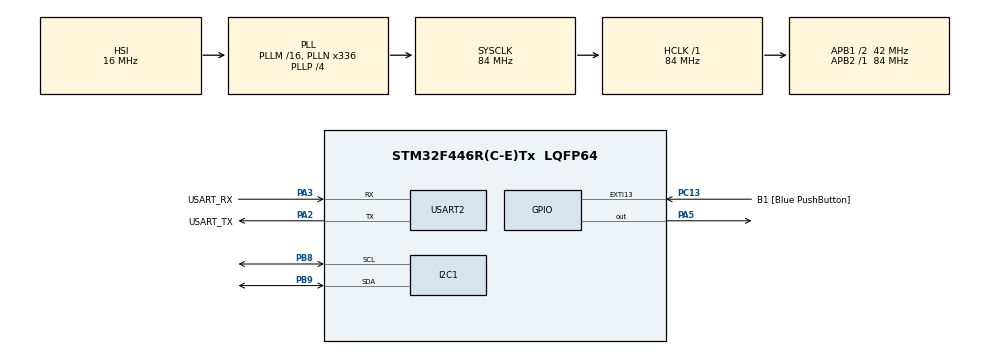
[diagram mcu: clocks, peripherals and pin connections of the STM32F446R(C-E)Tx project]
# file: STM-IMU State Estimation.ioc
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Mcu.Family=STM32F4
Mcu.Name=STM32F446R(C-E)Tx
Mcu.Package=LQFP64
NUCLEO-F446RE.LD1=true
NVIC.PriorityGroup=NVIC_PRIORITYGROUP_0
NVIC.TIM2_IRQn=true\:0\:0\:false\:false\:true\:true\:true\:true
PA13.GPIO_Label=TMS
PA13.Signal=SYS_JTMS-SWDIO
PA14.GPIO_Label=TCK
PA14.Signal=SYS_JTCK-SWCLK
PA2.GPIO_Label=USART_TX
PA2.Mode=Asynchronous
PA2.Signal=USART2_TX
PA3.GPIO_Label=USART_RX
PA3.Mode=Asynchronous
PA3.Signal=USART2_RX
PA5.Signal=GPIO_Output
PB3.GPIO_Label=SWO
PB3.Signal=SYS_JTDO-SWO
PB8.Mode=I2C
PB8.Signal=I2C1_SCL
PB9.Mode=I2C
PB9.Signal=I2C1_SDA
PC13.GPIO_Label=B1 [Blue PushButton]
PC13.GPIO_ModeDefaultEXTI=GPIO_MODE_IT_FALLING
PC13.Signal=GPXTI13
PC14-OSC32_IN.Signal=RCC_OSC32_IN
PC15-OSC32_OUT.Signal=RCC_OSC32_OUT
PH0-OSC_IN.Signal=RCC_OSC_IN
PH1-OSC_OUT.Signal=RCC_OSC_OUT
ProjectManager.HeapSize=0x200
ProjectManager.StackSize=0x400
ProjectManager.TargetToolchain=STM32CubeIDE
RCC.AHBFreq_Value=84000000
RCC.APB1CLKDivider=RCC_HCLK_DIV2
RCC.APB1Freq_Value=42000000
RCC.APB1TimFreq_Value=84000000
RCC.APB2Freq_Value=84000000
RCC.APB2TimFreq_Value=84000000
RCC.CortexFreq_Value=84000000
RCC.FLatency-AdvancedSettings=FLASH_LATENCY_2
RCC.HCLKFreq_Value=84000000
RCC.HSE_VALUE=8000000
RCC.HSI_VALUE=16000000
RCC.LSE_VALUE=32768
RCC.PLLN=336
RCC.PLLP=RCC_PLLP_DIV4
RCC.SYSCLKFreq_VALUE=84000000
RCC.SYSCLKSource=RCC_SYSCLKSOURCE_PLLCLK
RCC.USBFreq_Value=168000000
RCC.VCOOutputFreq_Value=336000000
TIM2.Period=99
TIM2.Prescaler=8399
USART2.VirtualMode=VM_ASYNC
VP_NUCLEO-F446RE_VS_BSP_COMMON.Mode=COMMON
VP_TIM2_VS_ClockSourceINT.Mode=Internal
board=NUCLEO-F446RE

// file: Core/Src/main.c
/* USER CODE BEGIN Header */
/**
  ******************************************************************************
  * @file           : main.c
  * @brief          : Main program body
  ******************************************************************************
  * @attention
  *
  * Copyright (c) 2026 STMicroelectronics.
  * All rights reserved.
  *
  * This software is licensed under terms that can be found in the LICENSE file
  * in the root directory of this software component.
  * If no LICENSE file comes with this software, it is provided AS-IS.
  *
  ******************************************************************************
  */
/* USER CODE END Header */
#include "main.h"

/* USER CODE BEGIN Includes */
#include <stdio.h>
#include "mpu6050.h"
#include <math.h>
#include "angle_kalman.h"
#include "quaternion_filter.h"
/* USER CODE END Includes */

/* USER CODE BEGIN PD */
#define KALMAN_Q_ANGLE                  0.001f
#define KALMAN_Q_BIAS                   0.00001f
#define KALMAN_R_MEASURE                0.03f
#define KALMAN_ACCEL_REJECTION_GAIN     10000.0f

#define SAMPLE_PERIOD_S                 0.01f
#define RAD_TO_DEG                      57.2957795f

#define MAHONY_KP 2.0f
/* USER CODE END PD */

I2C_HandleTypeDef hi2c1;

TIM_HandleTypeDef htim2;

UART_HandleTypeDef huart2;

/* USER CODE BEGIN PV */
volatile uint8_t sample_due = 0;

/* USER CODE END PV */

void SystemClock_Config(void);
static void MX_GPIO_Init(void);
static void MX_I2C1_Init(void);
static void MX_USART2_UART_Init(void);
static void MX_TIM2_Init(void);

int main(void)
{

  /* MCU Configuration--------------------------------------------------------*/

  /* Reset of all peripherals, Initializes the Flash interface and the Systick. */
  HAL_Init();

  /* Configure the system clock */
  SystemClock_Config();

  /* Initialize all configured peripherals */
  MX_GPIO_Init();
  MX_I2C1_Init();
  MX_USART2_UART_Init();
  MX_TIM2_Init();
  /* USER CODE BEGIN 2 */
  MPU6050_Handle imu;
  MPU6050_Measurement measurement;
  AngleKalmanFilter roll_filter;
  AngleKalmanFilter pitch_filter;

  QuaternionFilter quaternion_filter;
  float quaternion_roll_deg = 0.0f;
  float quaternion_pitch_deg = 0.0f;
  float quaternion_yaw_deg = 0.0f;

  uint8_t kalman_initialized = 0;

  // Driver initialization
  if (MPU6050_Init(&imu, &hi2c1) != MPU6050_OK)
  {
      char error_message[] = "MPU6050 init failed\r\n";

      HAL_UART_Transmit(
          &huart2,
          (uint8_t *)error_message,
          sizeof(error_message) - 1,
          HAL_MAX_DELAY
      );

      Error_Handler();
  }

  QuaternionFilter_Init(&quaternion_filter);

  if (HAL_TIM_Base_Start_IT(&htim2) != HAL_OK)
  {
      Error_Handler();
  }

  /* USER CODE END 2 */

  /* Initialize leds */
  BSP_LED_Init(LED2);

  /* Infinite loop */
  /* USER CODE BEGIN WHILE */
  uint32_t sample_index = 0;

  while (1)
  {
    /* USER CODE END WHILE */

    /* USER CODE BEGIN 3 */

      if (sample_due)
      {
          sample_due = 0;

          if (MPU6050_ReadAll(&imu, &measurement) == MPU6050_OK)
          {
        	  float ax_g = measurement.accel_x_g;
        	  float ay_g = measurement.accel_y_g;
        	  float az_g = measurement.accel_z_g;

        	  float roll_acc_deg =
        	      atan2f(ay_g, az_g) * RAD_TO_DEG;

        	  float pitch_acc_deg =
        	      atan2f(
        	          -ax_g,
        	          sqrtf(ay_g * ay_g + az_g * az_g)
        	      ) * RAD_TO_DEG;

        	  float accel_magnitude_g =
        	      sqrtf(
        	          ax_g * ax_g
        	          + ay_g * ay_g
        	          + az_g * az_g
        	      );

        	  float roll_kf_deg;
        	  float pitch_kf_deg;

        	  if (!kalman_initialized)
        	  {
        	      AngleKalman_Init(
        	          &roll_filter,
        	          roll_acc_deg,
        	          KALMAN_Q_ANGLE,
        	          KALMAN_Q_BIAS,
        	          KALMAN_R_MEASURE,
        	          KALMAN_ACCEL_REJECTION_GAIN
        	      );

        	      AngleKalman_Init(
        	          &pitch_filter,
        	          pitch_acc_deg,
        	          KALMAN_Q_ANGLE,
        	          KALMAN_Q_BIAS,
        	          KALMAN_R_MEASURE,
        	          KALMAN_ACCEL_REJECTION_GAIN
        	      );

        	      roll_kf_deg = roll_acc_deg;
        	      pitch_kf_deg = pitch_acc_deg;

        	      kalman_initialized = 1;
        	  }
        	  else
        	  {
        	      roll_kf_deg = AngleKalman_Update(
        	          &roll_filter,
        	          roll_acc_deg,
        	          measurement.gyro_x_dps,
        	          accel_magnitude_g,
        	          SAMPLE_PERIOD_S
        	      );

        	      pitch_kf_deg = AngleKalman_Update(
        	          &pitch_filter,
        	          pitch_acc_deg,
        	          measurement.gyro_y_dps,
        	          accel_magnitude_g,
        	          SAMPLE_PERIOD_S
        	      );
        	  }

        	  QuaternionFilter_UpdateMahony(
        	      &quaternion_filter,
        	      measurement.gyro_x_dps,
        	      measurement.gyro_y_dps,
        	      measurement.gyro_z_dps,
        	      measurement.accel_x_g,
        	      measurement.accel_y_g,
        	      measurement.accel_z_g,
        	      MAHONY_KP,
        	      SAMPLE_PERIOD_S
        	  );

        	  QuaternionFilter_ToEuler(
        	      &quaternion_filter,
        	      &quaternion_roll_deg,
        	      &quaternion_pitch_deg,
        	      &quaternion_yaw_deg
        	  );

        	  // UART sending

              char uart_buffer[400];

              uint32_t timestamp_ms = HAL_GetTick();

              int message_length = snprintf(
                  uart_buffer,
                  sizeof(uart_buffer),
                  "%lu,%lu,"
                  "%d,%d,%d,"
                  "%d,%d,%d,"
                  "%.5f,%.5f,%.5f,"
				  "%.5f,%.5f,%.5f,"
				  "%.5f,%.5f,%.5f,"
				  "%.5f,%.5f,"
				  "%.6f,%.6f,%.6f,%.6f,"
				  "%.6f,%.6f,%.6f,%.6f,%.5f,%.5f,%.5f\r\n",
                  sample_index,
                  timestamp_ms,
                  measurement.accel_x_raw,
                  measurement.accel_y_raw,
                  measurement.accel_z_raw,
                  measurement.gyro_x_raw,
                  measurement.gyro_y_raw,
                  measurement.gyro_z_raw,
                  measurement.accel_x_g,
                  measurement.accel_y_g,
                  measurement.accel_z_g,
                  measurement.gyro_x_dps,
                  measurement.gyro_y_dps,
                  measurement.gyro_z_dps,
				  roll_acc_deg,
				  pitch_acc_deg,
				  accel_magnitude_g,
				  roll_kf_deg,
				  pitch_kf_deg,
				  roll_filter.bias_dps,
				  pitch_filter.bias_dps,
				  roll_filter.k_angle,
				  pitch_filter.k_angle,
				  quaternion_filter.qw,
				  quaternion_filter.qx,
				  quaternion_filter.qy,
				  quaternion_filter.qz,
				  quaternion_roll_deg,
				  quaternion_pitch_deg,
				  quaternion_yaw_deg
              );

              if (message_length > 0 &&
                  message_length < sizeof(uart_buffer))
              {
                  HAL_UART_Transmit(
                      &huart2,
                      (uint8_t *)uart_buffer,
                      message_length,
                      HAL_MAX_DELAY
                  );
              }

              sample_index++;
          }
      }

  /* USER CODE END 3 */
}
}

void SystemClock_Config(void)
{
  RCC_OscInitTypeDef RCC_OscInitStruct = {0};
  RCC_ClkInitTypeDef RCC_ClkInitStruct = {0};

  /** Configure the main internal regulator output voltage
  */
  __HAL_RCC_PWR_CLK_ENABLE();
  __HAL_PWR_VOLTAGESCALING_CONFIG(PWR_REGULATOR_VOLTAGE_SCALE3);

  /** Initializes the RCC Oscillators according to the specified parameters
  * in the RCC_OscInitTypeDef structure.
  */
  RCC_OscInitStruct.OscillatorType = RCC_OSCILLATORTYPE_HSI;
  RCC_OscInitStruct.HSIState = RCC_HSI_ON;
  RCC_OscInitStruct.HSICalibrationValue = RCC_HSICALIBRATION_DEFAULT;
  RCC_OscInitStruct.PLL.PLLState = RCC_PLL_ON;
  RCC_OscInitStruct.PLL.PLLSource = RCC_PLLSOURCE_HSI;
  RCC_OscInitStruct.PLL.PLLM = 16;
  RCC_OscInitStruct.PLL.PLLN = 336;
  RCC_OscInitStruct.PLL.PLLP = RCC_PLLP_DIV4;
  RCC_OscInitStruct.PLL.PLLQ = 2;
  RCC_OscInitStruct.PLL.PLLR = 2;
  if (HAL_RCC_OscConfig(&RCC_OscInitStruct) != HAL_OK)
  {
    Error_Handler();
  }

  /** Initializes the CPU, AHB and APB buses clocks
  */
  RCC_ClkInitStruct.ClockType = RCC_CLOCKTYPE_HCLK|RCC_CLOCKTYPE_SYSCLK
                              |RCC_CLOCKTYPE_PCLK1|RCC_CLOCKTYPE_PCLK2;
  RCC_ClkInitStruct.SYSCLKSource = RCC_SYSCLKSOURCE_PLLCLK;
  RCC_ClkInitStruct.AHBCLKDivider = RCC_SYSCLK_DIV1;
  RCC_ClkInitStruct.APB1CLKDivider = RCC_HCLK_DIV2;
  RCC_ClkInitStruct.APB2CLKDivider = RCC_HCLK_DIV1;

  if (HAL_RCC_ClockConfig(&RCC_ClkInitStruct, FLASH_LATENCY_2) != HAL_OK)
  {
    Error_Handler();
  }
}

static void MX_I2C1_Init(void)
{

  hi2c1.Instance = I2C1;
  hi2c1.Init.ClockSpeed = 100000;
  hi2c1.Init.DutyCycle = I2C_DUTYCYCLE_2;
  hi2c1.Init.OwnAddress1 = 0;
  hi2c1.Init.AddressingMode = I2C_ADDRESSINGMODE_7BIT;
  hi2c1.Init.DualAddressMode = I2C_DUALADDRESS_DISABLE;
  hi2c1.Init.OwnAddress2 = 0;
  hi2c1.Init.GeneralCallMode = I2C_GENERALCALL_DISABLE;
  hi2c1.Init.NoStretchMode = I2C_NOSTRETCH_DISABLE;
  if (HAL_I2C_Init(&hi2c1) != HAL_OK)
  {
    Error_Handler();
  }

}

static void MX_TIM2_Init(void)
{

  TIM_ClockConfigTypeDef sClockSourceConfig = {0};
  TIM_MasterConfigTypeDef sMasterConfig = {0};

  htim2.Instance = TIM2;
  htim2.Init.Prescaler = 8399;
  htim2.Init.CounterMode = TIM_COUNTERMODE_UP;
  htim2.Init.Period = 99;
  htim2.Init.ClockDivision = TIM_CLOCKDIVISION_DIV1;
  htim2.Init.AutoReloadPreload = TIM_AUTORELOAD_PRELOAD_DISABLE;
  if (HAL_TIM_Base_Init(&htim2) != HAL_OK)
  {
    Error_Handler();
  }
  sClockSourceConfig.ClockSource = TIM_CLOCKSOURCE_INTERNAL;
  if (HAL_TIM_ConfigClockSource(&htim2, &sClockSourceConfig) != HAL_OK)
  {
    Error_Handler();
  }
  sMasterConfig.MasterOutputTrigger = TIM_TRGO_RESET;
  sMasterConfig.MasterSlaveMode = TIM_MASTERSLAVEMODE_DISABLE;
  if (HAL_TIMEx_MasterConfigSynchronization(&htim2, &sMasterConfig) != HAL_OK)
  {
    Error_Handler();
  }

}

static void MX_USART2_UART_Init(void)
{

  huart2.Instance = USART2;
  huart2.Init.BaudRate = 460800;
  huart2.Init.WordLength = UART_WORDLENGTH_8B;
  huart2.Init.StopBits = UART_STOPBITS_1;
  huart2.Init.Parity = UART_PARITY_NONE;
  huart2.Init.Mode = UART_MODE_TX_RX;
  huart2.Init.HwFlowCtl = UART_HWCONTROL_NONE;
  huart2.Init.OverSampling = UART_OVERSAMPLING_16;
  if (HAL_UART_Init(&huart2) != HAL_OK)
  {
    Error_Handler();
  }

}

static void MX_GPIO_Init(void)
{
  GPIO_InitTypeDef GPIO_InitStruct = {0};

  /* GPIO Ports Clock Enable */
  __HAL_RCC_GPIOC_CLK_ENABLE();
  __HAL_RCC_GPIOH_CLK_ENABLE();
  __HAL_RCC_GPIOA_CLK_ENABLE();
  __HAL_RCC_GPIOB_CLK_ENABLE();

  /*Configure GPIO pin : B1_Pin */
  GPIO_InitStruct.Pin = B1_Pin;
  GPIO_InitStruct.Mode = GPIO_MODE_IT_FALLING;
  GPIO_InitStruct.Pull = GPIO_NOPULL;
  HAL_GPIO_Init(B1_GPIO_Port, &GPIO_InitStruct);

}

/* USER CODE BEGIN 4 */

void HAL_TIM_PeriodElapsedCallback(TIM_HandleTypeDef *htim)
{
    if (htim->Instance == TIM2)
    {
        sample_due = 1;
    }
}

/* USER CODE END 4 */

void Error_Handler(void)
{
  __disable_irq();
  while (1)
  {
  }
}
